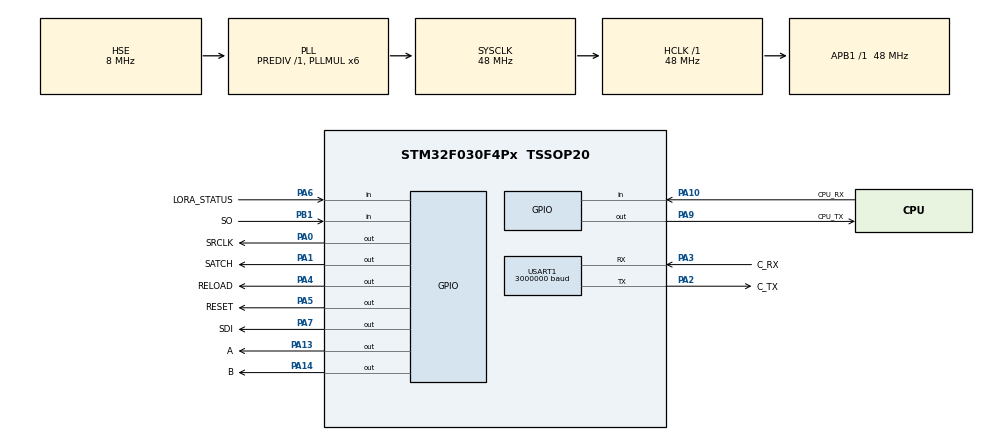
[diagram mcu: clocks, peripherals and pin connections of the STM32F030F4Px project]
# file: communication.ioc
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Dma.Request0=USART1_RX
Dma.Request1=USART1_TX
Dma.USART1_RX.0.Direction=DMA_PERIPH_TO_MEMORY
Dma.USART1_RX.0.Instance=DMA1_Channel3
Dma.USART1_RX.0.MemDataAlignment=DMA_MDATAALIGN_BYTE
Dma.USART1_RX.0.MemInc=DMA_MINC_ENABLE
Dma.USART1_RX.0.Mode=DMA_NORMAL
Dma.USART1_RX.0.PeriphDataAlignment=DMA_PDATAALIGN_BYTE
Dma.USART1_RX.0.PeriphInc=DMA_PINC_DISABLE
Dma.USART1_RX.0.Priority=DMA_PRIORITY_MEDIUM
Dma.USART1_TX.1.Direction=DMA_MEMORY_TO_PERIPH
Dma.USART1_TX.1.Instance=DMA1_Channel2
Dma.USART1_TX.1.MemDataAlignment=DMA_MDATAALIGN_BYTE
Dma.USART1_TX.1.MemInc=DMA_MINC_ENABLE
Dma.USART1_TX.1.Mode=DMA_NORMAL
Dma.USART1_TX.1.PeriphDataAlignment=DMA_PDATAALIGN_BYTE
Dma.USART1_TX.1.PeriphInc=DMA_PINC_DISABLE
Dma.USART1_TX.1.Priority=DMA_PRIORITY_LOW
Mcu.Family=STM32F0
Mcu.Name=STM32F030F4Px
Mcu.Package=TSSOP20
NVIC.DMA1_Channel2_3_IRQn=true\:0\:0\:false\:false\:true\:false\:true\:true
NVIC.TIM14_IRQn=true\:1\:0\:true\:false\:true\:true\:true\:true
NVIC.TIM16_IRQn=true\:1\:0\:true\:false\:true\:true\:true\:true
NVIC.TIM1_BRK_UP_TRG_COM_IRQn=true\:0\:0\:false\:false\:true\:true\:true\:true
NVIC.USART1_IRQn=true\:2\:0\:true\:false\:true\:true\:true\:true
PA0.GPIO_Label=SRCLK
PA0.GPIO_PuPd=GPIO_PULLUP
PA0.GPIO_Speed=GPIO_SPEED_FREQ_HIGH
PA0.PinState=GPIO_PIN_SET
PA0.Signal=GPIO_Output
PA1.GPIO_Label=SATCH
PA1.GPIO_PuPd=GPIO_PULLUP
PA1.GPIO_Speed=GPIO_SPEED_FREQ_HIGH
PA1.PinState=GPIO_PIN_SET
PA1.Signal=GPIO_Output
PA10.GPIO_Label=CPU_RX
PA10.GPIO_PuPd=GPIO_PULLUP
PA10.Signal=GPIO_Input
PA13.GPIO_Label=A
PA13.GPIO_PuPd=GPIO_PULLUP
PA13.GPIO_Speed=GPIO_SPEED_FREQ_HIGH
PA13.PinState=GPIO_PIN_SET
PA13.Signal=GPIO_Output
PA14.GPIO_Label=B
PA14.GPIO_PuPd=GPIO_PULLUP
PA14.GPIO_Speed=GPIO_SPEED_FREQ_HIGH
PA14.PinState=GPIO_PIN_SET
PA14.Signal=GPIO_Output
PA2.GPIO_Label=C_TX
PA2.Mode=Asynchronous
PA2.Signal=USART1_TX
PA3.GPIO_Label=C_RX
PA3.Mode=Asynchronous
PA3.Signal=USART1_RX
PA4.GPIO_Label=RELOAD
PA4.GPIO_PuPd=GPIO_PULLUP
PA4.PinState=GPIO_PIN_SET
PA4.Signal=GPIO_Output
PA5.GPIO_Label=RESET
PA5.GPIO_PuPd=GPIO_PULLUP
PA5.PinState=GPIO_PIN_SET
PA5.Signal=GPIO_Output
PA6.GPIO_Label=LORA_STATUS
PA6.Signal=GPIO_Input
PA7.GPIO_Label=SDI
PA7.GPIO_PuPd=GPIO_PULLUP
PA7.PinState=GPIO_PIN_SET
PA7.Signal=GPIO_Output
PA9.GPIO_FMA9=SYSCFG_CFGR1_I2C_FMP_PA9
PA9.GPIO_Label=CPU_TX
PA9.GPIO_PuPd=GPIO_PULLUP
PA9.GPIO_Speed=GPIO_SPEED_FREQ_HIGH
PA9.PinState=GPIO_PIN_SET
PA9.Signal=GPIO_Output
PB1.GPIO_Label=SO
PB1.GPIO_PuPd=GPIO_PULLUP
PB1.Signal=GPIO_Input
PF0-OSC_IN.Mode=HSE-External-Oscillator
PF0-OSC_IN.Signal=RCC_OSC_IN
PF1-OSC_OUT.Mode=HSE-External-Oscillator
PF1-OSC_OUT.Signal=RCC_OSC_OUT
ProjectManager.HeapSize=0x200
ProjectManager.StackSize=0x400
ProjectManager.TargetToolchain=MDK-ARM V5.27
RCC.AHBFreq_Value=48000000
RCC.APB1Freq_Value=48000000
RCC.APB1TimFreq_Value=48000000
RCC.HCLKFreq_Value=48000000
RCC.PLLMUL=RCC_PLL_MUL6
RCC.PLLSourceVirtual=RCC_PLLSOURCE_HSE
RCC.SYSCLKFreq_VALUE=48000000
RCC.SYSCLKSource=RCC_SYSCLKSOURCE_PLLCLK
RealThread.RT-Thread.3.1.5.RT_MAIN_THREAD_STACK_SIZE=512
RealThread.RT-Thread.3.1.5.RT_USING_CONSOLE=0
TIM1.AutoReloadPreload=TIM_AUTORELOAD_PRELOAD_ENABLE
TIM1.Period=1000
TIM1.Prescaler=480-1
TIM14.Prescaler=48-1
TIM16.Prescaler=48-1
USART1.BaudRate=3000000
USART1.VirtualMode-Asynchronous=VM_ASYNC
VP_TIM14_VS_ClockSourceINT.Mode=Enable_Timer
VP_TIM16_VS_ClockSourceINT.Mode=Enable_Timer
VP_TIM1_VS_ClockSourceINT.Mode=Internal
board=custom

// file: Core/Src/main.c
/* USER CODE BEGIN Header */
/**
 ******************************************************************************
 * @file           : main.c
 * @brief          : Main program body
 ******************************************************************************
 * @attention
 *
 * <h2><center>&copy; Copyright (c) 2022 STMicroelectronics.
 * All rights reserved.</center></h2>
 *
 * This software component is licensed by ST under BSD 3-Clause license,
 * the "License"; You may not use this file except in compliance with the
 * License. You may obtain a copy of the License at:
 *                        opensource.org/licenses/BSD-3-Clause
 *
 ******************************************************************************
 */
/* USER CODE END Header */
#include "main.h"
#include "dma.h"
#include "tim.h"
#include "usart.h"
#include "gpio.h"

/* USER CODE BEGIN Includes */
#include "tool.h"
#include "Modbus.h"
/* USER CODE END Includes */

/* USER CODE BEGIN PTD */
static void Debug_Handle(void)
{
#if defined(USING_DEBUG)
  // Debug("Hello word!\r\n");
  // Debug("rxbuf_size = %d,count = %d.\r\n", Modbus_Object->Slave.RxSize, Modbus_Object->Slave.RxCount);
  // for (uint8_t i = 0; i < Modbus_Object->Slave.RxCount; i++)
  // {
  //   Debug("prbuf[%d] = 0x%X\r\n", i, Modbus_Object->Slave.pRbuf[i]);
  // }
  /*中断信号发生*/
  static IRQ_Type irq = DisEnable;
  irq ^= DisEnable;
  IRQ_Handle(irq);
#endif
}

SoftTimer timer_map[] = {
    {.counter = 0U, .enable = true, .execute_flag = false, .event = Modbus_Handle, .target_counter = 1U},
    {.counter = 0U, .enable = true, .execute_flag = false, .event = Debug_Handle, .target_counter = 100U},
};
Timer_HandleTypeDef stimer = {
    .pmap = timer_map,
    .numbers = sizeof(timer_map) / sizeof(SoftTimer),
};
/* USER CODE END PTD */

void SystemClock_Config(void);

int main(void)
{

  /* MCU Configuration--------------------------------------------------------*/

  /* Reset of all peripherals, Initializes the Flash interface and the Systick. */
  HAL_Init();

  /* USER CODE BEGIN Init */
  /*Solve the problem that the download port is occupied and cannot be downloaded*/
  HAL_Delay(5000);
  /* USER CODE END Init */

  /* Configure the system clock */
  SystemClock_Config();

  /* Initialize all configured peripherals */
  MX_GPIO_Init();
  MX_DMA_Init();
  MX_USART1_UART_Init();
  MX_TIM14_Init();
  MX_TIM16_Init();
  MX_TIM1_Init();
  /* USER CODE BEGIN 2 */
  /*Start timer 1*/
  HAL_TIM_Base_Start_IT(&htim1);
  ptimer = &stimer;
  MX_ModbusInit();
  if (Modbus_Object)
  {
    __HAL_UART_ENABLE_IT(Modbus_Object->huart, UART_IT_IDLE);
    /*DMA buffer must point to an entity address!!!*/
    HAL_UART_Receive_DMA(Modbus_Object->huart, Modbus_Object->Slave.pRbuf, Modbus_Object->Slave.RxSize);
    Modbus_Object->Slave.RxCount = 0U;
  }
  // #if defined(USING_DEBUG)
  //   Debug("Board id is 0x%02x\r\n", Get_CardId());
  // #endif
  /* USER CODE END 2 */

  /* Infinite loop */
  while (1)
  {

    /* USER CODE BEGIN 3 */
    Timer_Handle();
    // Debug("Board id is 0x%02x\r\n", Get_CardId());

    // HAL_Delay(1000);
    // Modbus_Handle();
  }
  /* USER CODE END 3 */
}

void SystemClock_Config(void)
{
  RCC_OscInitTypeDef RCC_OscInitStruct = {0};
  RCC_ClkInitTypeDef RCC_ClkInitStruct = {0};
  RCC_PeriphCLKInitTypeDef PeriphClkInit = {0};

  /** Initializes the RCC Oscillators according to the specified parameters
   * in the RCC_OscInitTypeDef structure.
   */
  RCC_OscInitStruct.OscillatorType = RCC_OSCILLATORTYPE_HSE;
  RCC_OscInitStruct.HSEState = RCC_HSE_ON;
  RCC_OscInitStruct.PLL.PLLState = RCC_PLL_ON;
  RCC_OscInitStruct.PLL.PLLSource = RCC_PLLSOURCE_HSE;
  RCC_OscInitStruct.PLL.PLLMUL = RCC_PLL_MUL6;
  RCC_OscInitStruct.PLL.PREDIV = RCC_PREDIV_DIV1;
  if (HAL_RCC_OscConfig(&RCC_OscInitStruct) != HAL_OK)
  {
    Error_Handler();
  }
  /** Initializes the CPU, AHB and APB buses clocks
   */
  RCC_ClkInitStruct.ClockType = RCC_CLOCKTYPE_HCLK | RCC_CLOCKTYPE_SYSCLK | RCC_CLOCKTYPE_PCLK1;
  RCC_ClkInitStruct.SYSCLKSource = RCC_SYSCLKSOURCE_PLLCLK;
  RCC_ClkInitStruct.AHBCLKDivider = RCC_SYSCLK_DIV1;
  RCC_ClkInitStruct.APB1CLKDivider = RCC_HCLK_DIV1;

  if (HAL_RCC_ClockConfig(&RCC_ClkInitStruct, FLASH_LATENCY_1) != HAL_OK)
  {
    Error_Handler();
  }
  PeriphClkInit.PeriphClockSelection = RCC_PERIPHCLK_USART1;
  PeriphClkInit.Usart1ClockSelection = RCC_USART1CLKSOURCE_PCLK1;
  if (HAL_RCCEx_PeriphCLKConfig(&PeriphClkInit) != HAL_OK)
  {
    Error_Handler();
  }
}

void Error_Handler(void)
{
  __disable_irq();
  while (1)
  {
  }
}

/************************ (C) COPYRIGHT STMicroelectronics *****END OF FILE****/
